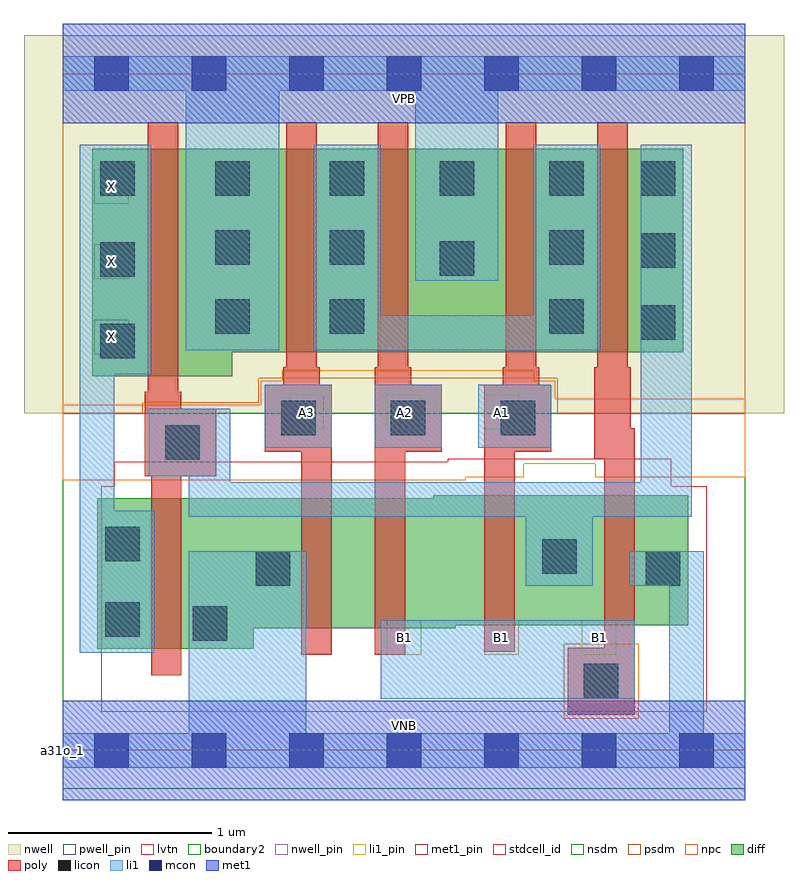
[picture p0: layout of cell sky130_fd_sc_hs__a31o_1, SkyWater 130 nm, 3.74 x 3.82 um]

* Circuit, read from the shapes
.subckt sky130_fd_sc_hs__a31o_1 A1 A2 A3 B1 VGND VNB VPB VPWR X
XM1 VGND n1 X VNB sky130_fd_pr__nfet_01v8_lvt w=0.74 l=0.15
XM2 n2 A3 VGND VNB sky130_fd_pr__nfet_01v8_lvt w=0.64 l=0.15
XM3 n3 A2 n2 VNB sky130_fd_pr__nfet_01v8_lvt w=0.64 l=0.15
XM4 n1 A1 n3 VNB sky130_fd_pr__nfet_01v8_lvt w=0.64 l=0.15
XM5 VGND B1 n1 VNB sky130_fd_pr__nfet_01v8_lvt w=0.64 l=0.15
XM6 VPWR n1 X VPB sky130_fd_pr__pfet_01v8 w=1.12 l=0.15
XM7 n4 A3 VPWR VPB sky130_fd_pr__pfet_01v8 w=1 l=0.15
XM8 VPWR A2 n4 VPB sky130_fd_pr__pfet_01v8 w=1 l=0.15
XM9 n4 A1 VPWR VPB sky130_fd_pr__pfet_01v8 w=1 l=0.15
XM10 n1 B1 n4 VPB sky130_fd_pr__pfet_01v8 w=1 l=0.15
.ends

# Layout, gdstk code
import gdstk
lib = gdstk.Library(unit=1e-6, precision=1e-09)
def R(c, l, rs):  # rectangles x0, y0, x1, y1
    for r in rs: c.add(gdstk.rectangle(r[:2], r[2:], *l))
def A(c, l, x, y, w, h, nx, ny, dx, dy):  # array of equal rectangles
    R(c, l, [(x+i*dx, y+j*dy, x+i*dx+w, y+j*dy+h) for i in range(nx) for j in range(ny)])
def P(c, l, *ps):  # polygons
    for p in ps: c.add(gdstk.Polygon(p, *l))
nwell_pin = (64, 16)
nwell = (64, 20)
diff = (65, 20)
poly = (66, 20)
licon = (66, 44)
li1_pin = (67, 16)
li1 = (67, 20)
mcon = (67, 44)
met1_pin = (68, 16)
met1 = (68, 20)
stdcell_id = (81, 4)
nsdm = (93, 44)
psdm = (94, 20)
npc = (95, 20)
pwell_pin = (122, 16)
lvtn = (125, 44)
boundary2 = (236, 0)

sky130_fd_sc_hs__a31o_1 = lib.new_cell('sky130_fd_sc_hs__a31o_1')
R(sky130_fd_sc_hs__a31o_1, nwell_pin, [(0,3.085,3.36,3.33)])
R(sky130_fd_sc_hs__a31o_1, nwell, [(-0.19,1.66,3.55,3.52)])
P(sky130_fd_sc_hs__a31o_1, diff, [(3.055,2.96),(0.145,2.96),(0.145,1.84),(0.835,1.84),(0.835,1.96),(3.055,1.96)],
  [(3.08,1.255),(1.825,1.255),(1.825,1.24),(0.17,1.24),(0.17,0.5),(0.94,0.5),(0.94,0.6),(1.935,0.6),(1.935,0.615),(3.08,0.615)])
P(sky130_fd_sc_hs__a31o_1, poly, [(2.405,1.8),(2.345,1.8),(2.345,1.885),(2.33,1.885),(2.33,3.09),(2.18,3.09),(2.18,1.885),(2.165,1.885),(2.165,1.8),(2.075,1.8),(2.075,0.485),(2.225,0.485),(2.225,1.47),(2.405,1.47)],
  [(1.865,1.8),(1.715,1.8),(1.715,1.885),(1.7,1.885),(1.7,3.09),(1.55,3.09),(1.55,1.885),(1.535,1.885),(1.535,0.47),(1.685,0.47),(1.685,1.47),(1.865,1.47)],
  [(1.325,1.8),(1.265,1.8),(1.265,1.885),(1.25,1.885),(1.25,3.09),(1.1,3.09),(1.1,1.885),(1.085,1.885),(1.085,1.8),(0.995,1.8),(0.995,1.47),(1.175,1.47),(1.175,0.47),(1.325,0.47)],
  [(0.755,1.68),(0.585,1.68),(0.585,1.765),(0.57,1.765),(0.57,3.09),(0.42,3.09),(0.42,1.765),(0.405,1.765),(0.405,1.35),(0.435,1.35),(0.435,0.37),(0.585,0.37),(0.585,1.35),(0.755,1.35)],
  [(2.815,1.585),(2.795,1.585),(2.795,1.885),(2.78,1.885),(2.78,3.09),(2.63,3.09),(2.63,1.885),(2.615,1.885),(2.615,1.435),(2.665,1.435),(2.665,0.505),(2.485,0.505),(2.485,0.175),(2.815,0.175)])
A(sky130_fd_sc_hs__a31o_1, licon, 1.075, 1.55, 0.17, 0.17, 3, 1, 0.54, 0)
A(sky130_fd_sc_hs__a31o_1, licon, 2.845, 2.02, 0.17, 0.17, 1, 3, 0, 0.355)
A(sky130_fd_sc_hs__a31o_1, licon, 2.395, 2.05, 0.17, 0.17, 1, 3, 0, 0.34)
A(sky130_fd_sc_hs__a31o_1, licon, 0.185, 2.73, 0.17, 0.17, 3, 1, 0.565, 0)
R(sky130_fd_sc_hs__a31o_1, licon, [(2.565,0.255,2.735,0.425), (0.64,0.54,0.81,0.71), (0.21,0.56,0.38,0.73), (0.95,0.81,1.12,0.98), (2.87,0.81,3.04,0.98), (2.36,0.87,2.53,1.04), (0.21,0.93,0.38,1.1), (0.505,1.43,0.675,1.6), (0.185,1.93,0.355,2.1), (0.75,2.05,0.92,2.22), (1.315,2.05,1.485,2.22), (0.185,2.33,0.355,2.5), (1.855,2.335,2.025,2.505), (0.75,2.39,0.92,2.56), (1.315,2.39,1.485,2.56), (1.855,2.73,2.025,2.9)])
A(sky130_fd_sc_hs__a31o_1, li1_pin, 1.595, 0.47, 0.17, 0.17, 3, 1, 0.48, 0)
A(sky130_fd_sc_hs__a31o_1, li1_pin, 1.115, 1.58, 0.17, 0.17, 3, 1, 0.48, 0)
A(sky130_fd_sc_hs__a31o_1, li1_pin, 0.155, 1.95, 0.17, 0.17, 1, 3, 0, 0.37)
R(sky130_fd_sc_hs__a31o_1, li1, [(1.565,0.255,2.815,0.64), (0.995,1.49,1.325,1.8), (1.535,1.49,1.865,1.8), (2.045,1.49,2.405,1.8)])
P(sky130_fd_sc_hs__a31o_1, li1, [(0.45,1.18),(0.255,1.18),(0.255,1.85),(0.435,1.85),(0.435,2.98),(0.085,2.98),(0.085,0.48),(0.45,0.48)],
  [(2.645,2.98),(2.315,2.98),(2.315,2.14),(1.565,2.14),(1.565,2.98),(1.235,2.98),(1.235,1.97),(2.645,1.97)],
  [(3.095,2.98),(2.845,2.98),(2.845,1.32),(0.825,1.32),(0.825,1.68),(0.425,1.68),(0.425,1.35),(0.62,1.35),(0.62,1.15),(2.28,1.15),(2.28,0.81),(2.61,0.81),(2.61,1.15),(3.095,1.15)],
  [(3.36,3.415),(0,3.415),(0,3.245),(0.605,3.245),(0.605,1.97),(1.065,1.97),(1.065,3.245),(1.735,3.245),(1.735,2.31),(2.145,2.31),(2.145,3.245),(3.36,3.245)],
  [(3.36,0.085),(3.155,0.085),(3.155,0.98),(2.79,0.98),(2.79,0.81),(2.985,0.81),(2.985,0.085),(1.2,0.085),(1.2,0.98),(0.62,0.98),(0.62,0.085),(0,0.085),(0,-0.085),(3.36,-0.085)])
A(sky130_fd_sc_hs__a31o_1, mcon, 0.155, -0.085, 0.17, 0.17, 7, 2, 0.48, 3.33)
R(sky130_fd_sc_hs__a31o_1, met1_pin, [(0,0,3.36,0.245), (0,3.085,3.36,3.33)])
R(sky130_fd_sc_hs__a31o_1, met1, [(0,-0.245,3.36,0.245), (0,3.085,3.36,3.575)])
R(sky130_fd_sc_hs__a31o_1, stdcell_id, [(0,0,3.36,3.33)])
R(sky130_fd_sc_hs__a31o_1, nsdm, [(0,-0.19,3.36,1.66)])
P(sky130_fd_sc_hs__a31o_1, psdm, [(3.36,3.52),(0,3.52),(0,1.66),(0.395,1.66),(0.395,1.71),(0.965,1.71),(0.965,1.83),(2.435,1.83),(2.435,1.66),(3.36,1.66)])
R(sky130_fd_sc_hs__a31o_1, npc, [(2.465,0.155,2.835,0.525)])
P(sky130_fd_sc_hs__a31o_1, npc, [(3.36,1.73),(2.425,1.73),(2.425,1.82),(2.32,1.82),(2.32,1.87),(1.08,1.87),(1.08,1.82),(0.975,1.82),(0.975,1.7),(0,1.7),(0,1.33),(1.985,1.33),(1.985,1.345),(2.27,1.345),(2.27,1.41),(2.62,1.41),(2.62,1.345),(3.36,1.345)])
R(sky130_fd_sc_hs__a31o_1, pwell_pin, [(0,0,3.36,0.245)])
P(sky130_fd_sc_hs__a31o_1, lvtn, [(3.17,1.3),(2.995,1.3),(2.995,1.435),(1.895,1.435),(1.895,1.42),(0.255,1.42),(0.255,1.3),(0.19,1.3),(0.19,0.19),(3.17,0.19)])
R(sky130_fd_sc_hs__a31o_1, boundary2, [(0,0,3.36,3.33)])
sky130_fd_sc_hs__a31o_1.add(gdstk.Label('a31o_1', (0,0), layer=83, texttype=44))
sky130_fd_sc_hs__a31o_1.add(gdstk.Label('VNB', (1.68,0.123), layer=64, texttype=59))
sky130_fd_sc_hs__a31o_1.add(gdstk.Label('VPB', (1.68,3.208), layer=64, texttype=5))
sky130_fd_sc_hs__a31o_1.add(gdstk.Label('VPWR', (1.68,3.208), layer=68, texttype=5))
sky130_fd_sc_hs__a31o_1.add(gdstk.Label('VGND', (1.68,0.123), layer=68, texttype=5))
sky130_fd_sc_hs__a31o_1.add(gdstk.Label('X', (0.24,2.035), layer=67, texttype=5))
sky130_fd_sc_hs__a31o_1.add(gdstk.Label('X', (0.24,2.405), layer=67, texttype=5))
sky130_fd_sc_hs__a31o_1.add(gdstk.Label('X', (0.24,2.775), layer=67, texttype=5))
sky130_fd_sc_hs__a31o_1.add(gdstk.Label('A3', (1.2,1.665), layer=67, texttype=5))
sky130_fd_sc_hs__a31o_1.add(gdstk.Label('A2', (1.68,1.665), layer=67, texttype=5))
sky130_fd_sc_hs__a31o_1.add(gdstk.Label('A1', (2.16,1.665), layer=67, texttype=5))
sky130_fd_sc_hs__a31o_1.add(gdstk.Label('B1', (1.68,0.555), layer=67, texttype=5))
sky130_fd_sc_hs__a31o_1.add(gdstk.Label('B1', (2.16,0.555), layer=67, texttype=5))
sky130_fd_sc_hs__a31o_1.add(gdstk.Label('B1', (2.64,0.555), layer=67, texttype=5))

lib.write_gds('sky130_fd_sc_hs__a31o_1.gds')
